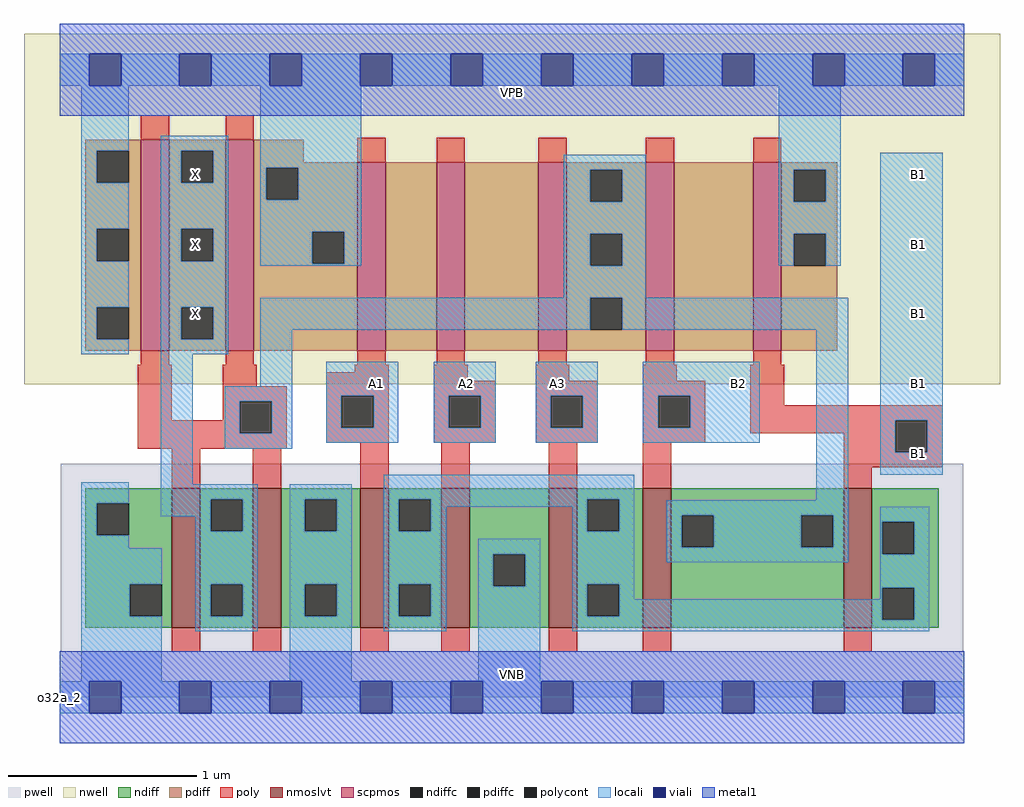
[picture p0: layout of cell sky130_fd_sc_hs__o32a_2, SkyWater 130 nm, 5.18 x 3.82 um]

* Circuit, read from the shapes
.subckt sky130_fd_sc_hs__o32a_2 A1 A2 A3 B1 B2 VGND VNB VPB VPWR X
XM1 X n1 VGND VNB sky130_fd_pr__nfet_01v8_lvt w=0.74 l=0.15 m=2
XM2 n2 A1 VGND VNB sky130_fd_pr__nfet_01v8_lvt w=0.74 l=0.15
XM3 VGND A2 n2 VNB sky130_fd_pr__nfet_01v8_lvt w=0.74 l=0.15
XM4 n2 A3 VGND VNB sky130_fd_pr__nfet_01v8_lvt w=0.74 l=0.15
XM5 n1 B2 n2 VNB sky130_fd_pr__nfet_01v8_lvt w=0.74 l=0.15
XM6 n2 B1 n1 VNB sky130_fd_pr__nfet_01v8_lvt w=0.74 l=0.15
XM7 X n1 VPWR VPB sky130_fd_pr__pfet_01v8 w=1.12 l=0.15 m=2
XM8 n3 A1 VPWR VPB sky130_fd_pr__pfet_01v8 w=1 l=0.15
XM9 n4 A2 n3 VPB sky130_fd_pr__pfet_01v8 w=1 l=0.15
XM10 n1 A3 n4 VPB sky130_fd_pr__pfet_01v8 w=1 l=0.15
XM11 n5 B2 n1 VPB sky130_fd_pr__pfet_01v8 w=1 l=0.15
XM12 VPWR B1 n5 VPB sky130_fd_pr__pfet_01v8 w=1 l=0.15
.ends

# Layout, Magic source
magic
tech sky130A
magscale 1 2
<< nwell >>
rect -38 332 998 704
<< pwell >>
rect 1 49 959 248
rect 0 0 960 49
<< scpmos >>
rect 86 368 116 592
rect 176 368 206 592
rect 316 368 346 568
rect 400 368 430 568
rect 508 368 538 568
rect 622 368 652 568
rect 736 368 766 568
<< nmoslvt >>
rect 119 74 149 222
rect 205 74 235 222
rect 319 74 349 222
rect 405 74 435 222
rect 519 74 549 222
rect 619 74 649 222
rect 832 74 862 222
<< ndiff >>
rect 27 206 119 222
rect 27 172 39 206
rect 73 172 119 206
rect 27 120 119 172
rect 27 86 74 120
rect 108 86 119 120
rect 27 74 119 86
rect 149 210 205 222
rect 149 176 160 210
rect 194 176 205 210
rect 149 120 205 176
rect 149 86 160 120
rect 194 86 205 120
rect 149 74 205 86
rect 235 210 319 222
rect 235 176 260 210
rect 294 176 319 210
rect 235 120 319 176
rect 235 86 260 120
rect 294 86 319 120
rect 235 74 319 86
rect 349 210 405 222
rect 349 176 360 210
rect 394 176 405 210
rect 349 120 405 176
rect 349 86 360 120
rect 394 86 405 120
rect 349 74 405 86
rect 435 152 519 222
rect 435 118 460 152
rect 494 118 519 152
rect 435 74 519 118
rect 549 210 619 222
rect 549 176 560 210
rect 594 176 619 210
rect 549 120 619 176
rect 549 86 560 120
rect 594 86 619 120
rect 549 74 619 86
rect 649 193 832 222
rect 649 159 660 193
rect 694 159 787 193
rect 821 159 832 193
rect 649 74 832 159
rect 862 186 933 222
rect 862 152 873 186
rect 907 152 933 186
rect 862 116 933 152
rect 862 82 873 116
rect 907 82 933 116
rect 862 74 933 82
<< pdiff >>
rect 27 580 86 592
rect 27 546 39 580
rect 73 546 86 580
rect 27 497 86 546
rect 27 463 39 497
rect 73 463 86 497
rect 27 414 86 463
rect 27 380 39 414
rect 73 380 86 414
rect 27 368 86 380
rect 116 580 176 592
rect 116 546 129 580
rect 163 546 176 580
rect 116 497 176 546
rect 116 463 129 497
rect 163 463 176 497
rect 116 414 176 463
rect 116 380 129 414
rect 163 380 176 414
rect 116 368 176 380
rect 206 568 259 592
rect 206 562 316 568
rect 206 528 219 562
rect 253 528 316 562
rect 206 494 316 528
rect 206 460 268 494
rect 302 460 316 494
rect 206 368 316 460
rect 346 368 400 568
rect 430 368 508 568
rect 538 560 622 568
rect 538 526 563 560
rect 597 526 622 560
rect 538 492 622 526
rect 538 458 563 492
rect 597 458 622 492
rect 538 424 622 458
rect 538 390 563 424
rect 597 390 622 424
rect 538 368 622 390
rect 652 368 736 568
rect 766 560 825 568
rect 766 526 779 560
rect 813 526 825 560
rect 766 492 825 526
rect 766 458 779 492
rect 813 458 825 492
rect 766 368 825 458
<< ndiffc >>
rect 39 172 73 206
rect 74 86 108 120
rect 160 176 194 210
rect 160 86 194 120
rect 260 176 294 210
rect 260 86 294 120
rect 360 176 394 210
rect 360 86 394 120
rect 460 118 494 152
rect 560 176 594 210
rect 560 86 594 120
rect 660 159 694 193
rect 787 159 821 193
rect 873 152 907 186
rect 873 82 907 116
<< pdiffc >>
rect 39 546 73 580
rect 39 463 73 497
rect 39 380 73 414
rect 129 546 163 580
rect 129 463 163 497
rect 129 380 163 414
rect 219 528 253 562
rect 268 460 302 494
rect 563 526 597 560
rect 563 458 597 492
rect 563 390 597 424
rect 779 526 813 560
rect 779 458 813 492
<< poly >>
rect 86 592 116 618
rect 176 592 206 618
rect 316 568 346 594
rect 400 568 430 594
rect 508 568 538 594
rect 622 568 652 594
rect 736 568 766 594
rect 86 353 116 368
rect 176 353 206 368
rect 316 353 346 368
rect 400 353 430 368
rect 508 353 538 368
rect 622 353 652 368
rect 736 353 766 368
rect 83 294 119 353
rect 173 330 209 353
rect 313 345 349 353
rect 173 314 241 330
rect 173 294 191 314
rect 83 280 191 294
rect 225 280 241 314
rect 83 264 241 280
rect 283 320 349 345
rect 283 286 299 320
rect 333 286 349 320
rect 283 270 349 286
rect 397 336 433 353
rect 505 336 541 353
rect 619 336 655 353
rect 397 320 463 336
rect 397 286 413 320
rect 447 286 463 320
rect 397 270 463 286
rect 505 320 571 336
rect 505 286 521 320
rect 555 286 571 320
rect 505 270 571 286
rect 619 320 685 336
rect 619 286 635 320
rect 669 286 685 320
rect 619 270 685 286
rect 733 310 769 353
rect 733 294 937 310
rect 733 280 887 294
rect 119 222 149 264
rect 205 222 235 264
rect 319 222 349 270
rect 405 222 435 270
rect 519 222 549 270
rect 619 222 649 270
rect 832 260 887 280
rect 921 260 937 294
rect 832 244 937 260
rect 832 222 862 244
rect 119 48 149 74
rect 205 48 235 74
rect 319 48 349 74
rect 405 48 435 74
rect 519 48 549 74
rect 619 48 649 74
rect 832 48 862 74
<< polycont >>
rect 191 280 225 314
rect 299 286 333 320
rect 413 286 447 320
rect 521 286 555 320
rect 635 286 669 320
rect 887 260 921 294
<< locali >>
rect 0 649 31 683
rect 65 649 127 683
rect 161 649 223 683
rect 257 649 319 683
rect 353 649 415 683
rect 449 649 511 683
rect 545 649 607 683
rect 641 649 703 683
rect 737 649 799 683
rect 833 649 895 683
rect 929 649 960 683
rect 23 580 73 649
rect 23 546 39 580
rect 23 497 73 546
rect 23 463 39 497
rect 23 414 73 463
rect 23 380 39 414
rect 23 364 73 380
rect 107 580 179 596
rect 107 546 129 580
rect 163 546 179 580
rect 107 497 179 546
rect 107 463 129 497
rect 163 463 179 497
rect 107 414 179 463
rect 213 562 320 649
rect 213 528 219 562
rect 253 528 320 562
rect 213 494 320 528
rect 213 460 268 494
rect 302 460 320 494
rect 213 458 320 460
rect 535 560 622 576
rect 535 526 563 560
rect 597 526 622 560
rect 535 492 622 526
rect 535 458 563 492
rect 597 458 622 492
rect 763 560 829 649
rect 763 526 779 560
rect 813 526 829 560
rect 763 492 829 526
rect 763 458 779 492
rect 813 458 829 492
rect 535 424 622 458
rect 107 380 129 414
rect 163 380 179 414
rect 107 364 179 380
rect 213 390 563 424
rect 597 390 837 424
rect 23 206 73 228
rect 23 172 39 206
rect 107 226 141 364
rect 213 330 247 390
rect 175 314 247 330
rect 175 280 191 314
rect 225 280 247 314
rect 175 264 247 280
rect 283 320 359 356
rect 283 286 299 320
rect 333 286 359 320
rect 283 270 359 286
rect 397 320 463 356
rect 397 286 413 320
rect 447 286 463 320
rect 397 270 463 286
rect 505 320 571 356
rect 505 286 521 320
rect 555 286 571 320
rect 505 270 571 286
rect 619 320 743 356
rect 619 286 635 320
rect 669 286 743 320
rect 619 270 743 286
rect 107 210 210 226
rect 107 192 160 210
rect 23 158 73 172
rect 144 176 160 192
rect 194 176 210 210
rect 23 120 108 158
rect 23 86 74 120
rect 23 17 108 86
rect 144 120 210 176
rect 144 86 160 120
rect 194 86 210 120
rect 144 70 210 86
rect 244 210 310 226
rect 244 176 260 210
rect 294 176 310 210
rect 244 120 310 176
rect 244 86 260 120
rect 294 86 310 120
rect 244 17 310 86
rect 344 210 610 236
rect 344 176 360 210
rect 394 202 560 210
rect 394 176 410 202
rect 344 120 410 176
rect 544 176 560 202
rect 594 176 610 210
rect 803 209 837 390
rect 871 294 937 578
rect 871 260 887 294
rect 921 260 937 294
rect 871 236 937 260
rect 344 86 360 120
rect 394 86 410 120
rect 344 70 410 86
rect 444 152 510 168
rect 444 118 460 152
rect 494 118 510 152
rect 444 17 510 118
rect 544 120 610 176
rect 644 193 837 209
rect 644 159 660 193
rect 694 159 787 193
rect 821 159 837 193
rect 644 143 837 159
rect 871 186 923 202
rect 871 152 873 186
rect 907 152 923 186
rect 544 86 560 120
rect 594 104 610 120
rect 871 116 923 152
rect 871 104 873 116
rect 594 86 873 104
rect 544 82 873 86
rect 907 82 923 116
rect 544 70 923 82
rect 0 -17 31 17
rect 65 -17 127 17
rect 161 -17 223 17
rect 257 -17 319 17
rect 353 -17 415 17
rect 449 -17 511 17
rect 545 -17 607 17
rect 641 -17 703 17
rect 737 -17 799 17
rect 833 -17 895 17
rect 929 -17 960 17
<< viali >>
rect 31 649 65 683
rect 127 649 161 683
rect 223 649 257 683
rect 319 649 353 683
rect 415 649 449 683
rect 511 649 545 683
rect 607 649 641 683
rect 703 649 737 683
rect 799 649 833 683
rect 895 649 929 683
rect 31 -17 65 17
rect 127 -17 161 17
rect 223 -17 257 17
rect 319 -17 353 17
rect 415 -17 449 17
rect 511 -17 545 17
rect 607 -17 641 17
rect 703 -17 737 17
rect 799 -17 833 17
rect 895 -17 929 17
<< metal1 >>
rect 0 683 960 715
rect 0 649 31 683
rect 65 649 127 683
rect 161 649 223 683
rect 257 649 319 683
rect 353 649 415 683
rect 449 649 511 683
rect 545 649 607 683
rect 641 649 703 683
rect 737 649 799 683
rect 833 649 895 683
rect 929 649 960 683
rect 0 617 960 649
rect 0 17 960 49
rect 0 -17 31 17
rect 65 -17 127 17
rect 161 -17 223 17
rect 257 -17 319 17
rect 353 -17 415 17
rect 449 -17 511 17
rect 545 -17 607 17
rect 641 -17 703 17
rect 737 -17 799 17
rect 833 -17 895 17
rect 929 -17 960 17
rect 0 -49 960 -17
<< labels >>
rlabel comment s 0 0 0 0 4 o32a_2
flabel pwell s 0 0 960 49 0 FreeSans 200 0 0 0 VNB
port 7 nsew ground bidirectional
flabel nwell s 0 617 960 666 0 FreeSans 200 0 0 0 VPB
port 8 nsew power bidirectional
flabel metal1 s 0 617 960 666 0 FreeSans 340 0 0 0 VPWR
port 9 nsew power bidirectional
flabel metal1 s 0 0 960 49 0 FreeSans 340 0 0 0 VGND
port 6 nsew ground bidirectional
flabel locali s 319 316 353 350 0 FreeSans 340 0 0 0 A1
port 1 nsew signal input
flabel locali s 415 316 449 350 0 FreeSans 340 0 0 0 A2
port 2 nsew signal input
flabel locali s 511 316 545 350 0 FreeSans 340 0 0 0 A3
port 3 nsew signal input
flabel locali s 895 242 929 276 0 FreeSans 340 0 0 0 B1
port 4 nsew signal input
flabel locali s 895 316 929 350 0 FreeSans 340 0 0 0 B1
port 4 nsew signal input
flabel locali s 895 390 929 424 0 FreeSans 340 0 0 0 B1
port 4 nsew signal input
flabel locali s 895 464 929 498 0 FreeSans 340 0 0 0 B1
port 4 nsew signal input
flabel locali s 895 538 929 572 0 FreeSans 340 0 0 0 B1
port 4 nsew signal input
flabel locali s 703 316 737 350 0 FreeSans 340 0 0 0 B2
port 5 nsew signal input
flabel locali s 127 390 161 424 0 FreeSans 340 0 0 0 X
port 10 nsew signal output
flabel locali s 127 464 161 498 0 FreeSans 340 0 0 0 X
port 10 nsew signal output
flabel locali s 127 538 161 572 0 FreeSans 340 0 0 0 X
port 10 nsew signal output
<< properties >>
string LEFsite unit
string LEFclass CORE
string FIXED_BBOX 0 0 960 666
string GDS_FILE $PDKPATH/libs.ref/sky130_fd_sc_hs/gds/sky130_fd_sc_hs.gds
string LEFsymmetry X Y
string GDS_END 976982
string GDS_START 968642
<< end >>
